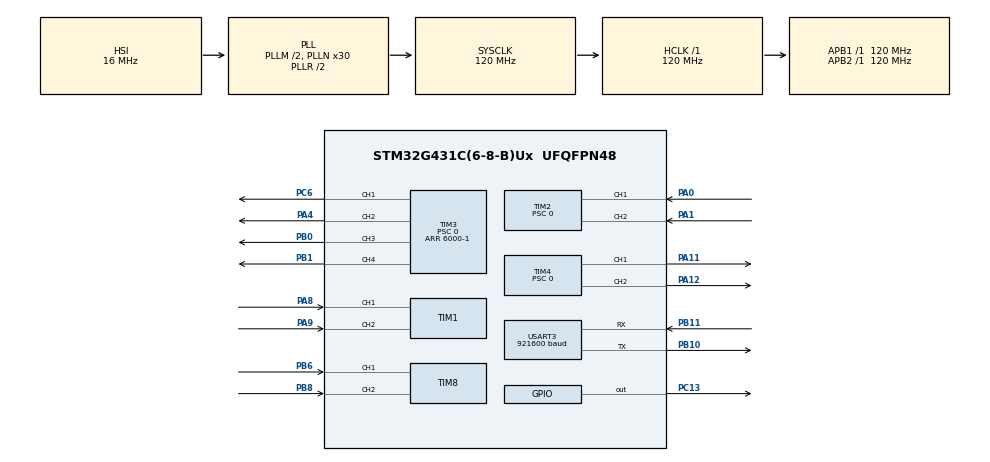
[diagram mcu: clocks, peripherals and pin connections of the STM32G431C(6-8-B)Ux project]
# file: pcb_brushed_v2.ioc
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Dma.Request0=USART3_RX
Dma.USART3_RX.0.Direction=DMA_PERIPH_TO_MEMORY
Dma.USART3_RX.0.EventEnable=DISABLE
Dma.USART3_RX.0.Instance=DMA1_Channel1
Dma.USART3_RX.0.MemDataAlignment=DMA_MDATAALIGN_BYTE
Dma.USART3_RX.0.MemInc=DMA_MINC_ENABLE
Dma.USART3_RX.0.Mode=DMA_CIRCULAR
Dma.USART3_RX.0.PeriphDataAlignment=DMA_PDATAALIGN_BYTE
Dma.USART3_RX.0.PeriphInc=DMA_PINC_DISABLE
Dma.USART3_RX.0.Polarity=HAL_DMAMUX_REQ_GEN_RISING
Dma.USART3_RX.0.Priority=DMA_PRIORITY_LOW
Dma.USART3_RX.0.RequestNumber=1
Dma.USART3_RX.0.SignalID=NONE
Dma.USART3_RX.0.SyncEnable=DISABLE
Dma.USART3_RX.0.SyncPolarity=HAL_DMAMUX_SYNC_NO_EVENT
Dma.USART3_RX.0.SyncRequestNumber=1
Dma.USART3_RX.0.SyncSignalID=NONE
Mcu.Family=STM32G4
Mcu.Name=STM32G431C(6-8-B)Ux
Mcu.Package=UFQFPN48
NVIC.DMA1_Channel1_IRQn=true\:0\:0\:false\:false\:true\:false\:true\:true
NVIC.PriorityGroup=NVIC_PRIORITYGROUP_4
NVIC.TIM1_BRK_TIM15_IRQn=true\:0\:0\:false\:false\:true\:true\:true\:true
NVIC.TIM6_DAC_IRQn=true\:0\:0\:false\:false\:true\:true\:true\:true
NVIC.TIM7_IRQn=true\:0\:0\:false\:false\:true\:true\:true\:true
PA0.GPIO_PuPd=GPIO_PULLUP
PA0.Signal=S_TIM2_CH1
PA1.GPIO_PuPd=GPIO_PULLUP
PA1.Signal=S_TIM2_CH2
PA11.Signal=S_TIM4_CH1
PA12.Signal=S_TIM4_CH2
PA4.Signal=S_TIM3_CH2
PA8.Signal=S_TIM1_CH1
PA9.Signal=S_TIM1_CH2
PB0.Signal=S_TIM3_CH3
PB1.Signal=S_TIM3_CH4
PB10.Mode=Asynchronous
PB10.Signal=USART3_TX
PB11.Mode=Asynchronous
PB11.Signal=USART3_RX
PB6.Signal=S_TIM8_CH1
PB8-BOOT0.Signal=S_TIM8_CH2
PC13.Signal=GPIO_Output
PC6.Signal=S_TIM3_CH1
ProjectManager.HeapSize=0x200
ProjectManager.StackSize=0x400
ProjectManager.TargetToolchain=STM32CubeIDE
RCC.ADC12Freq_Value=120000000
RCC.AHBFreq_Value=120000000
RCC.APB1Freq_Value=120000000
RCC.APB1TimFreq_Value=120000000
RCC.APB2Freq_Value=120000000
RCC.APB2TimFreq_Value=120000000
RCC.CortexFreq_Value=120000000
RCC.EXTERNAL_CLOCK_VALUE=12288000
RCC.HCLKFreq_Value=120000000
RCC.HSE_VALUE=8000000
RCC.HSI48_VALUE=48000000
RCC.HSI_VALUE=16000000
RCC.LSE_VALUE=32768
RCC.PLLM=RCC_PLLM_DIV2
RCC.PLLN=30
RCC.SYSCLKFreq_VALUE=120000000
RCC.SYSCLKSource=RCC_SYSCLKSOURCE_PLLCLK
RCC.USBFreq_Value=120000000
RCC.VCOOutputFreq_Value=240000000
SH.S_TIM1_CH1.0=TIM1_CH1,Encoder_Interface
SH.S_TIM1_CH2.0=TIM1_CH2,Encoder_Interface
SH.S_TIM2_CH1.0=TIM2_CH1,Encoder_Interface
SH.S_TIM2_CH2.0=TIM2_CH2,Encoder_Interface
SH.S_TIM3_CH1.0=TIM3_CH1,PWM Generation1 CH1
SH.S_TIM3_CH2.0=TIM3_CH2,PWM Generation2 CH2
SH.S_TIM3_CH3.0=TIM3_CH3,PWM Generation3 CH3
SH.S_TIM3_CH4.0=TIM3_CH4,PWM Generation4 CH4
SH.S_TIM4_CH1.0=TIM4_CH1,PWM Generation1 CH1
SH.S_TIM4_CH2.0=TIM4_CH2,PWM Generation2 CH2
SH.S_TIM8_CH1.0=TIM8_CH1,Encoder_Interface
SH.S_TIM8_CH2.0=TIM8_CH2,Encoder_Interface
TIM1.EncoderMode=TIM_ENCODERMODE_TI12
TIM1.IC1Filter=4
TIM1.IC2Filter=4
TIM15.PeriodNoDither=25000-1
TIM15.Prescaler=24000-1
TIM2.EncoderMode=TIM_ENCODERMODE_TI12
TIM2.IC1Filter=0
TIM2.IC2Filter=0
TIM2.PeriodNoDither=65535
TIM2.Prescaler=0
TIM3.AutoReloadPreload=TIM_AUTORELOAD_PRELOAD_ENABLE
TIM3.Channel-PWM\ Generation1\ CH1=TIM_CHANNEL_1
TIM3.Channel-PWM\ Generation2\ CH2=TIM_CHANNEL_2
TIM3.Channel-PWM\ Generation3\ CH3=TIM_CHANNEL_3
TIM3.Channel-PWM\ Generation4\ CH4=TIM_CHANNEL_4
TIM3.OCMode_PWM-PWM\ Generation1\ CH1=TIM_OCMODE_PWM1
TIM3.OCMode_PWM-PWM\ Generation2\ CH2=TIM_OCMODE_PWM1
TIM3.OCMode_PWM-PWM\ Generation3\ CH3=TIM_OCMODE_PWM1
TIM3.OCMode_PWM-PWM\ Generation4\ CH4=TIM_OCMODE_PWM1
TIM3.PeriodNoDither=6000-1
TIM3.Prescaler=0
TIM4.AutoReloadPreload=TIM_AUTORELOAD_PRELOAD_ENABLE
TIM4.Channel-PWM\ Generation1\ CH1=TIM_CHANNEL_1
TIM4.Channel-PWM\ Generation2\ CH2=TIM_CHANNEL_2
TIM4.OCMode_PWM-PWM\ Generation1\ CH1=TIM_OCMODE_PWM1
TIM4.OCMode_PWM-PWM\ Generation2\ CH2=TIM_OCMODE_PWM1
TIM4.PeriodNoDither=6000-1
TIM4.Prescaler=0
TIM6.PeriodNoDither=5000-1
TIM6.Prescaler=120-1
TIM7.PeriodNoDither=1000-1
TIM7.Prescaler=120-1
TIM8.EncoderMode=TIM_ENCODERMODE_TI12
TIM8.IC1Filter=4
TIM8.IC2Filter=4
USART3.BaudRate=921600
USART3.VirtualMode-Asynchronous=VM_ASYNC
VP_SYS_VS_DBSignals.Mode=DisableDeadBatterySignals
VP_TIM15_VS_ClockSourceINT.Mode=Internal
VP_TIM3_VS_ClockSourceINT.Mode=Internal
VP_TIM4_VS_ClockSourceINT.Mode=Internal
VP_TIM6_VS_ClockSourceINT.Mode=Enable_Timer
VP_TIM7_VS_ClockSourceINT.Mode=Enable_Timer
board=custom

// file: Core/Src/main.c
/* USER CODE BEGIN Header */
/**
  ******************************************************************************
  * @file           : main.c
  * @brief          : Main program body
  ******************************************************************************
  * @attention
  *
  * Copyright (c) 2025 STMicroelectronics.
  * All rights reserved.
  *
  * This software is licensed under terms that can be found in the LICENSE file
  * in the root directory of this software component.
  * If no LICENSE file comes with this software, it is provided AS-IS.
  *
  ******************************************************************************
  */
/* USER CODE END Header */
#include "main.h"
#include "dma.h"
#include "tim.h"
#include "usart.h"
#include "gpio.h"

/* USER CODE BEGIN Includes */
#include "mcc_control.h"
#include "mcc_com_slave.h"
/* USER CODE END Includes */

/* USER CODE BEGIN PV */
Motor_t g_motors[3];
MOTOR_COM com_struct;
uint8_t motor_task_flag;

uint32_t t0=0;
uint32_t t1=0;
uint32_t t2=0;
uint32_t t3=0;
uint32_t ta=0;
uint32_t tb=0;

#ifdef DEBUG_MODE
int debug_flag=0;
#endif

void HAL_TIM_PeriodElapsedCallback(TIM_HandleTypeDef *htim){
	//TIM6 pour communication et TIM7 pour pid
	t0 = DWT->CYCCNT;
	if(htim->Instance==TIM7){
		motor_task_flag=1;
	}
	if(htim->Instance==TIM6){
		com_struct.timer_flag=1;
	}
#ifdef DEBUG_MODE
	if(htim->Instance==TIM15){
		debug_flag=1;
	}
#endif
	t1 = DWT->CYCCNT - t0;
	if(t1>ta){
		ta=t1;
	}

}
/* USER CODE END PV */

void SystemClock_Config(void);

int main(void)
{

  /* MCU Configuration--------------------------------------------------------*/

  /* Reset of all peripherals, Initializes the Flash interface and the Systick. */
  HAL_Init();

  /* Configure the system clock */
  SystemClock_Config();

  /* Initialize all configured peripherals */
  MX_GPIO_Init();
  MX_DMA_Init();
  MX_TIM1_Init();
  MX_TIM2_Init();
  MX_TIM3_Init();
  MX_TIM4_Init();
  MX_TIM8_Init();
  MX_TIM7_Init();
  MX_TIM6_Init();
  MX_USART3_UART_Init();
  MX_TIM15_Init();
  /* USER CODE BEGIN 2 */
  CoreDebug->DEMCR |= CoreDebug_DEMCR_TRCENA_Msk;
  DWT->CYCCNT = 0;
  DWT->CTRL |= DWT_CTRL_CYCCNTENA_Msk;

  HAL_TIM_Base_Start_IT(&htim7);

#ifdef DEBUG_MODE
  HAL_TIM_Base_Start_IT(&htim15);
  int i=0;
#endif
  App_InitMotors();
  MotorCom_Init(&com_struct,&huart3,&htim6);
  Motor_SetCommonSpeedPid(0.01, 0.1, 0, 0.9);

  /* USER CODE END 2 */

  /* Infinite loop */
  /* USER CODE BEGIN WHILE */
  while (1)
  {
	  t2 = DWT->CYCCNT;
	  if(motor_task_flag==1){
		  motor_task_flag=0;
		  MotorControlTask(0.001);
	  }
	  MotorCom_Process(&com_struct);

#ifdef DEBUG_MODE
	  if(debug_flag){
		  debug_flag=0;
		  switch(i){
		  case 0:
				Motor_SetTargetSpeed(&g_motors[0], 160.0);
				Motor_SetTargetSpeed(&g_motors[1], -160.0);
				HAL_GPIO_TogglePin(GPIOC,GPIO_PIN_13);
			  i++;
			  break;
		  case 1:
				Motor_SetTargetSpeed(&g_motors[0], 0.0);
				Motor_SetTargetSpeed(&g_motors[1], 0.0);
				HAL_GPIO_TogglePin(GPIOC,GPIO_PIN_13);
			  i--;
			  break;
		  }
	  }
#endif

		t3 = DWT->CYCCNT - t2;
		if(t3>tb){
			tb=t3;
		}

    /* USER CODE END WHILE */

  }
}

void SystemClock_Config(void)
{
  RCC_OscInitTypeDef RCC_OscInitStruct = {0};
  RCC_ClkInitTypeDef RCC_ClkInitStruct = {0};

  /** Configure the main internal regulator output voltage
  */
  HAL_PWREx_ControlVoltageScaling(PWR_REGULATOR_VOLTAGE_SCALE1);

  /** Initializes the RCC Oscillators according to the specified parameters
  * in the RCC_OscInitTypeDef structure.
  */
  RCC_OscInitStruct.OscillatorType = RCC_OSCILLATORTYPE_HSI;
  RCC_OscInitStruct.HSIState = RCC_HSI_ON;
  RCC_OscInitStruct.HSICalibrationValue = RCC_HSICALIBRATION_DEFAULT;
  RCC_OscInitStruct.PLL.PLLState = RCC_PLL_ON;
  RCC_OscInitStruct.PLL.PLLSource = RCC_PLLSOURCE_HSI;
  RCC_OscInitStruct.PLL.PLLM = RCC_PLLM_DIV2;
  RCC_OscInitStruct.PLL.PLLN = 30;
  RCC_OscInitStruct.PLL.PLLP = RCC_PLLP_DIV2;
  RCC_OscInitStruct.PLL.PLLQ = RCC_PLLQ_DIV2;
  RCC_OscInitStruct.PLL.PLLR = RCC_PLLR_DIV2;
  if (HAL_RCC_OscConfig(&RCC_OscInitStruct) != HAL_OK)
  {
    Error_Handler();
  }

  /** Initializes the CPU, AHB and APB buses clocks
  */
  RCC_ClkInitStruct.ClockType = RCC_CLOCKTYPE_HCLK|RCC_CLOCKTYPE_SYSCLK
                              |RCC_CLOCKTYPE_PCLK1|RCC_CLOCKTYPE_PCLK2;
  RCC_ClkInitStruct.SYSCLKSource = RCC_SYSCLKSOURCE_PLLCLK;
  RCC_ClkInitStruct.AHBCLKDivider = RCC_SYSCLK_DIV1;
  RCC_ClkInitStruct.APB1CLKDivider = RCC_HCLK_DIV1;
  RCC_ClkInitStruct.APB2CLKDivider = RCC_HCLK_DIV1;

  if (HAL_RCC_ClockConfig(&RCC_ClkInitStruct, FLASH_LATENCY_3) != HAL_OK)
  {
    Error_Handler();
  }
}

void Error_Handler(void)
{
  __disable_irq();
  while (1)
  {
  }
}
